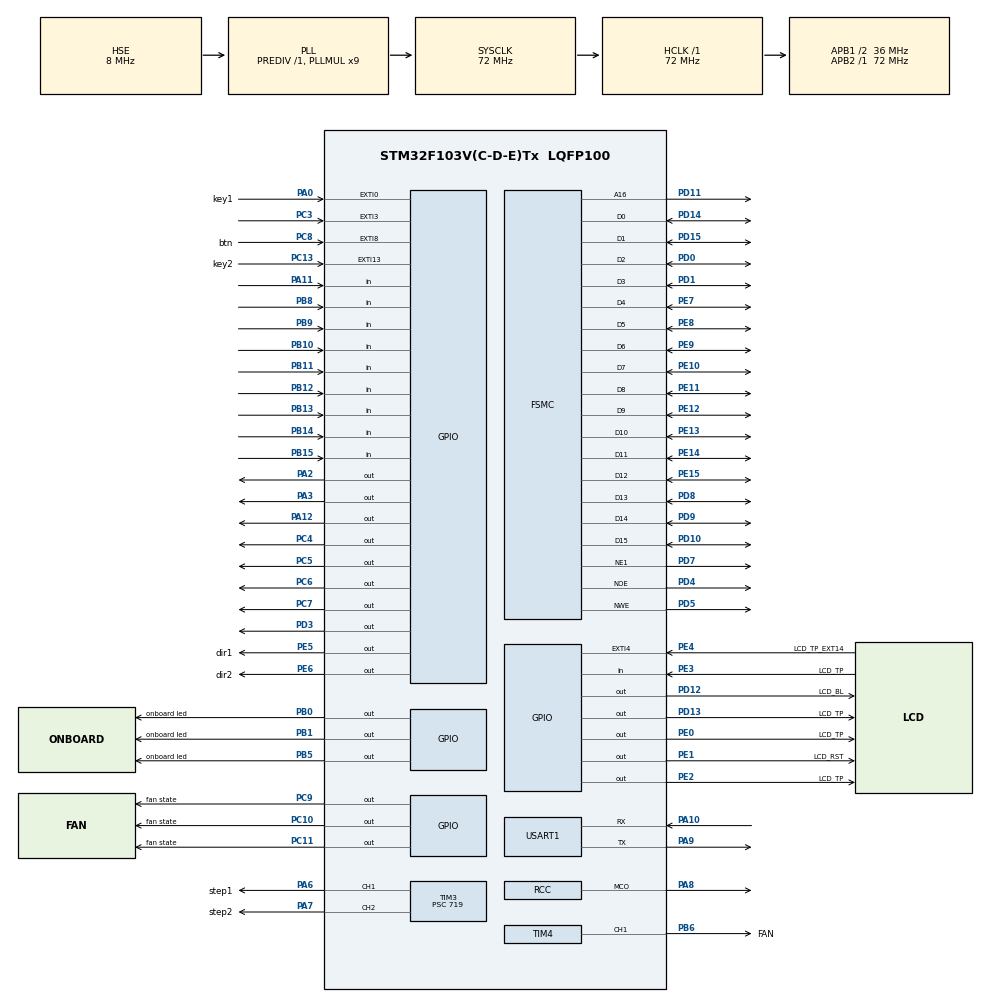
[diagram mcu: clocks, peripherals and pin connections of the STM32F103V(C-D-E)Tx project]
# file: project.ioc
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Mcu.Family=STM32F1
Mcu.Name=STM32F103V(C-D-E)Tx
Mcu.Package=LQFP100
NVIC.EXTI0_IRQn=true\:1\:0\:true\:false\:true\:true\:true\:true
NVIC.EXTI15_10_IRQn=true\:1\:0\:true\:false\:true\:true\:true\:true
NVIC.EXTI3_IRQn=true\:1\:0\:true\:false\:true\:true\:true\:true
NVIC.EXTI4_IRQn=true\:1\:0\:true\:false\:true\:true\:true\:true
NVIC.EXTI9_5_IRQn=true\:1\:0\:true\:false\:true\:true\:true\:true
NVIC.PriorityGroup=NVIC_PRIORITYGROUP_4
OSC_IN.Mode=HSE-External-Oscillator
OSC_IN.Signal=RCC_OSC_IN
OSC_OUT.Mode=HSE-External-Oscillator
OSC_OUT.Signal=RCC_OSC_OUT
PA0-WKUP.GPIO_Label=key1
PA0-WKUP.Signal=GPXTI0
PA10.Mode=Asynchronous
PA10.Signal=USART1_RX
PA11.Signal=GPIO_Input
PA12.Signal=GPIO_Output
PA13.Mode=Serial_Wire
PA13.Signal=SYS_JTMS-SWDIO
PA14.Mode=Serial_Wire
PA14.Signal=SYS_JTCK-SWCLK
PA2.GPIO_Speed=GPIO_SPEED_FREQ_HIGH
PA2.Signal=GPIO_Output
PA3.GPIO_Speed=GPIO_SPEED_FREQ_HIGH
PA3.Signal=GPIO_Output
PA6.GPIO_Label=step1
PA6.GPIO_Speed=GPIO_SPEED_FREQ_HIGH
PA6.Signal=S_TIM3_CH1
PA7.GPIO_Label=step2
PA7.GPIO_Speed=GPIO_SPEED_FREQ_HIGH
PA7.Signal=S_TIM3_CH2
PA8.GPIO_Speed=GPIO_SPEED_FREQ_HIGH
PA8.Mode=Clock-out
PA8.Signal=RCC_MCO
PA9.Mode=Asynchronous
PA9.Signal=USART1_TX
PB0.GPIO_Label=onboard led
PB0.GPIO_Speed=GPIO_SPEED_FREQ_HIGH
PB0.PinState=GPIO_PIN_SET
PB0.Signal=GPIO_Output
PB1.GPIO_Label=onboard led
PB1.GPIO_Speed=GPIO_SPEED_FREQ_HIGH
PB1.PinState=GPIO_PIN_SET
PB1.Signal=GPIO_Output
PB10.Signal=GPIO_Input
PB11.Signal=GPIO_Input
PB12.Signal=GPIO_Input
PB13.Signal=GPIO_Input
PB14.Signal=GPIO_Input
PB15.Signal=GPIO_Input
PB5.GPIO_Label=onboard led
PB5.GPIO_Speed=GPIO_SPEED_FREQ_HIGH
PB5.PinState=GPIO_PIN_SET
PB5.Signal=GPIO_Output
PB6.GPIO_Label=FAN
PB6.GPIO_Speed=GPIO_SPEED_FREQ_HIGH
PB6.Signal=S_TIM4_CH1
PB8.Signal=GPIO_Input
PB9.Signal=GPIO_Input
PC10.GPIO_Label=fan state
PC10.PinState=GPIO_PIN_SET
PC10.Signal=GPIO_Output
PC11.GPIO_Label=fan state
PC11.PinState=GPIO_PIN_SET
PC11.Signal=GPIO_Output
PC13-TAMPER-RTC.GPIO_Label=key2
PC13-TAMPER-RTC.Signal=GPXTI13
PC14-OSC32_IN.Mode=LSE-External-Oscillator
PC14-OSC32_IN.Signal=RCC_OSC32_IN
PC15-OSC32_OUT.Mode=LSE-External-Oscillator
PC15-OSC32_OUT.Signal=RCC_OSC32_OUT
PC3.GPIO_ModeDefaultEXTI=GPIO_MODE_IT_FALLING
PC3.Signal=GPXTI3
PC4.GPIO_Speed=GPIO_SPEED_FREQ_HIGH
PC4.Signal=GPIO_Output
PC5.GPIO_Speed=GPIO_SPEED_FREQ_HIGH
PC5.Signal=GPIO_Output
PC6.GPIO_ModeDefaultOutputPP=GPIO_MODE_OUTPUT_OD
PC6.GPIO_PuPd=GPIO_NOPULL
PC6.GPIO_Speed=GPIO_SPEED_FREQ_HIGH
PC6.Signal=GPIO_Output
PC7.GPIO_ModeDefaultOutputPP=GPIO_MODE_OUTPUT_OD
PC7.GPIO_PuPd=GPIO_NOPULL
PC7.GPIO_Speed=GPIO_SPEED_FREQ_HIGH
PC7.Signal=GPIO_Output
PC8.GPIO_Label=btn
PC8.GPIO_ModeDefaultEXTI=GPIO_MODE_IT_FALLING
PC8.GPIO_PuPd=GPIO_PULLUP
PC8.Signal=GPXTI8
PC9.GPIO_Label=fan state
PC9.PinState=GPIO_PIN_SET
PC9.Signal=GPIO_Output
PD0.Mode=16b-d1
PD0.Signal=FSMC_D2
PD1.Mode=16b-d1
PD1.Signal=FSMC_D3
PD10.Mode=16b-d1
PD10.Signal=FSMC_D15
PD11.Mode=A16_1
PD11.Signal=FSMC_A16
PD12.GPIO_Label=LCD_BL
PD12.GPIO_Speed=GPIO_SPEED_FREQ_HIGH
PD12.Signal=GPIO_Output
PD13.GPIO_Label=LCD_TP
PD13.GPIO_Speed=GPIO_SPEED_FREQ_HIGH
PD13.Signal=GPIO_Output
PD14.Mode=16b-d1
PD14.Signal=FSMC_D0
PD15.Mode=16b-d1
PD15.Signal=FSMC_D1
PD3.GPIO_Speed=GPIO_SPEED_FREQ_HIGH
PD3.Signal=GPIO_Output
PD4.Mode=Lcd1
PD4.Signal=FSMC_NOE
PD5.Mode=Lcd1
PD5.Signal=FSMC_NWE
PD7.Mode=NorPsramChipSelect1_1
PD7.Signal=FSMC_NE1
PD8.Mode=16b-d1
PD8.Signal=FSMC_D13
PD9.Mode=16b-d1
PD9.Signal=FSMC_D14
PE0.GPIO_Label=LCD_TP
PE0.GPIO_Speed=GPIO_SPEED_FREQ_HIGH
PE0.Signal=GPIO_Output
PE1.GPIO_Label=LCD_RST
PE1.GPIO_Speed=GPIO_SPEED_FREQ_HIGH
PE1.Signal=GPIO_Output
PE10.Mode=16b-d1
PE10.Signal=FSMC_D7
PE11.Mode=16b-d1
PE11.Signal=FSMC_D8
PE12.Mode=16b-d1
PE12.Signal=FSMC_D9
PE13.Mode=16b-d1
PE13.Signal=FSMC_D10
PE14.Mode=16b-d1
PE14.Signal=FSMC_D11
PE15.Mode=16b-d1
PE15.Signal=FSMC_D12
PE2.GPIO_Label=LCD_TP
PE2.GPIO_Speed=GPIO_SPEED_FREQ_HIGH
PE2.Signal=GPIO_Output
PE3.GPIO_Label=LCD_TP
PE3.GPIO_PuPd=GPIO_PULLUP
PE3.Signal=GPIO_Input
PE4.GPIO_Label=LCD_TP_EXT14
PE4.GPIO_ModeDefaultEXTI=GPIO_MODE_IT_FALLING
PE4.GPIO_PuPd=GPIO_PULLUP
PE4.Signal=GPXTI4
PE5.GPIO_Label=dir1
PE5.GPIO_Speed=GPIO_SPEED_FREQ_HIGH
PE5.PinState=GPIO_PIN_RESET
PE5.Signal=GPIO_Output
PE6.GPIO_Label=dir2
PE6.GPIO_Speed=GPIO_SPEED_FREQ_HIGH
PE6.Signal=GPIO_Output
PE7.Mode=16b-d1
PE7.Signal=FSMC_D4
PE8.Mode=16b-d1
PE8.Signal=FSMC_D5
PE9.Mode=16b-d1
PE9.Signal=FSMC_D6
ProjectManager.HeapSize=0x200
ProjectManager.StackSize=0x400
ProjectManager.TargetToolchain=STM32CubeIDE
RCC.ADCPresc=RCC_ADCPCLK2_DIV6
RCC.AHBFreq_Value=72000000
RCC.APB1CLKDivider=RCC_HCLK_DIV2
RCC.APB1Freq_Value=36000000
RCC.APB1TimFreq_Value=72000000
RCC.APB2Freq_Value=72000000
RCC.APB2TimFreq_Value=72000000
RCC.HCLKFreq_Value=72000000
RCC.PLLMUL=RCC_PLL_MUL9
RCC.PLLSourceVirtual=RCC_PLLSOURCE_HSE
RCC.RCC_MCOSource=RCC_MCO1SOURCE_PLLCLK
RCC.SYSCLKFreq_VALUE=72000000
RCC.SYSCLKSource=RCC_SYSCLKSOURCE_PLLCLK
RCC.USBFreq_Value=72000000
SH.S_TIM3_CH1.0=TIM3_CH1,PWM Generation1 CH1
SH.S_TIM3_CH2.0=TIM3_CH2,PWM Generation2 CH2
SH.S_TIM4_CH1.0=TIM4_CH1,PWM Generation1 CH1
TIM1.Prescaler=71
TIM3.Channel-PWM\ Generation1\ CH1=TIM_CHANNEL_1
TIM3.Channel-PWM\ Generation2\ CH2=TIM_CHANNEL_2
TIM3.Period=49
TIM3.Prescaler=719
TIM3.Pulse-PWM\ Generation1\ CH1=0
TIM3.Pulse-PWM\ Generation2\ CH2=0
TIM3.TIM_MasterSlaveMode=TIM_MASTERSLAVEMODE_ENABLE
TIM4.Channel-PWM\ Generation1\ CH1=TIM_CHANNEL_1
TIM4.Period=999
TIM4.Prescaler=7199
TIM4.Pulse-PWM\ Generation1\ CH1=0
TIM4.TIM_MasterOutputTrigger=TIM_TRGO_UPDATE
USART1.VirtualMode=VM_ASYNC
VP_TIM1_VS_ClockSourceINT.Mode=Internal
VP_TIM3_VS_ClockSourceINT.Mode=Internal
VP_TIM4_VS_ClockSourceINT.Mode=Internal
board=custom

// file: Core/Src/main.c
/* USER CODE BEGIN Header */
/**
  ******************************************************************************
  * @file           : main.c
  * @brief          : Main program body
  ******************************************************************************
  * @attention
  *
  * Copyright (c) 2023 STMicroelectronics.
  * All rights reserved.
  *
  * This software is licensed under terms that can be found in the LICENSE file
  * in the root directory of this software component.
  * If no LICENSE file comes with this software, it is provided AS-IS.
  *
  ******************************************************************************
  */
/* USER CODE END Header */
#include "main.h"

/* USER CODE BEGIN Includes */
#include "lcd.h"
#include "xpt2046.h"
#include "bsp_ov7725.h"
#include "bsp_sccb.h"
#include "stdio.h"
/* USER CODE END Includes */

 TIM_HandleTypeDef htim1;
TIM_HandleTypeDef htim3;
TIM_HandleTypeDef htim4;

UART_HandleTypeDef huart1;

SRAM_HandleTypeDef hsram1;

void SystemClock_Config(void);
static void MX_GPIO_Init(void);
static void MX_FSMC_Init(void);
static void MX_TIM3_Init(void);
static void MX_TIM4_Init(void);
static void MX_TIM1_Init(void);
static void MX_USART1_UART_Init(void);
/* USER CODE BEGIN PFP */
volatile uint8_t Ov7725_vsync ;
#define TRIG_PIN GPIO_PIN_12
#define TRIG_PORT GPIOA
#define ECHO_PIN GPIO_PIN_11
#define ECHO_PORT GPIOA
/* USER CODE END PFP */

/* USER CODE BEGIN 0 */
void led_blink(){
	  HAL_GPIO_WritePin(GPIOB, GPIO_PIN_5, GPIO_PIN_RESET);
	  HAL_Delay(100);
	  HAL_GPIO_WritePin(GPIOB, GPIO_PIN_5, GPIO_PIN_SET);
	  HAL_Delay(50);
	  HAL_GPIO_WritePin(GPIOB, GPIO_PIN_5, GPIO_PIN_RESET);
	  HAL_Delay(100);
	  HAL_GPIO_WritePin(GPIOB, GPIO_PIN_5, GPIO_PIN_SET);
	  HAL_Delay(50);
	  HAL_GPIO_WritePin(GPIOB, GPIO_PIN_5, GPIO_PIN_RESET);
	  HAL_Delay(100);
	  HAL_GPIO_WritePin(GPIOB, GPIO_PIN_5, GPIO_PIN_SET);
	  HAL_Delay(50);
}

void stepper_up(){
	  HAL_GPIO_WritePin(GPIOE, GPIO_PIN_5, GPIO_PIN_SET);
	  HAL_GPIO_WritePin(GPIOE, GPIO_PIN_6, GPIO_PIN_SET);
	  __HAL_TIM_SET_COMPARE(&htim3, TIM_CHANNEL_1, 1);
	  __HAL_TIM_SET_COMPARE(&htim3, TIM_CHANNEL_2, 1);
}

void stepper_stop(){
	  __HAL_TIM_SET_COMPARE(&htim3, TIM_CHANNEL_1, 0);
	  __HAL_TIM_SET_COMPARE(&htim3, TIM_CHANNEL_2, 0);
}

int fanspeed = 0;
int fan_speed_arr[4] = {0, 399, 699, 999};
int fan_mode = 0;
void fan(){
	__HAL_TIM_SET_COMPARE(&htim4, TIM_CHANNEL_1, fan_speed_arr[3]);
	HAL_Delay(100);
	if(fanspeed == 0){
		HAL_GPIO_WritePin(GPIOC, GPIO_PIN_11, GPIO_PIN_RESET);
		fanspeed = 1;
	}
	else if(fanspeed == 1){
		HAL_GPIO_WritePin(GPIOC, GPIO_PIN_10, GPIO_PIN_RESET);
		fanspeed = 2;
	}
	else if(fanspeed == 2){
		HAL_GPIO_WritePin(GPIOC, GPIO_PIN_9, GPIO_PIN_RESET);
		fanspeed = 3;
	}
	else if(fanspeed == 3){
		HAL_GPIO_WritePin(GPIOC, GPIO_PIN_9, GPIO_PIN_SET);
		HAL_GPIO_WritePin(GPIOC, GPIO_PIN_10, GPIO_PIN_SET);
		HAL_GPIO_WritePin(GPIOC, GPIO_PIN_11, GPIO_PIN_SET);
		fanspeed = 0;
	}
	__HAL_TIM_SET_COMPARE(&htim4, TIM_CHANNEL_1, fan_speed_arr[fanspeed]);
}

uint16_t i, j;
uint16_t Camera_Data;
uint8_t color1;
uint8_t color2;
uint8_t message[2];
uint8_t strK1[]="Pressed\n";
uint8_t str2[]="\nStop";
uint16_t Distance  = 0;
uint32_t pMillis;
uint32_t Value1 = 0;
uint32_t Value2 = 0;
int take_photo () {

		LCD_DisplayInterface1();
		HAL_GPIO_WritePin(TRIG_PORT, TRIG_PIN, GPIO_PIN_SET);
		__HAL_TIM_SET_COUNTER(&htim1, 0);
		while (__HAL_TIM_GET_COUNTER (&htim1) < 10);
		HAL_GPIO_WritePin(TRIG_PORT, TRIG_PIN, GPIO_PIN_RESET);

		pMillis = HAL_GetTick();

		while (!(HAL_GPIO_ReadPin (ECHO_PORT, ECHO_PIN)) && pMillis + 10 >  HAL_GetTick());
		Value1 = __HAL_TIM_GET_COUNTER (&htim1);

		pMillis = HAL_GetTick();

		while ((HAL_GPIO_ReadPin (ECHO_PORT, ECHO_PIN)) && pMillis + 50 > HAL_GetTick());
		Value2 = __HAL_TIM_GET_COUNTER (&htim1);

		Distance = (Value2-Value1)* 0.034/2;
		HAL_Delay(50);
		uint8_t Rxstr[4] = "";
		int pixel_data = 0;
		int Calcu_data = 0;
		HAL_UART_Transmit(&huart1,strK1,sizeof(strK1)-1,100);
		if (Ov7725_vsync == 2)
		{
			FIFO_PREPARE;
			for(i = 0; i < 240; i++)
			{
				for(j = 0; j < 320; j++)
				{
					READ_FIFO_PIXEL(Camera_Data);
					color1 = (uint8_t) (Camera_Data);
					color2 = (uint8_t) (Camera_Data>>8);
					message[0] = color1;
					message[1] = color2;
					HAL_UART_Transmit(&huart1,message,2,100);
				}
			}
			HAL_UART_Transmit(&huart1,str2,sizeof(str2)-1,100);
			HAL_Delay(50);
			Ov7725_vsync = 0;
			int temp_time = HAL_GetTick();
			while (HAL_UART_Receive(&huart1,Rxstr,2,100) != HAL_OK && Check_mainsrc_touchkey() == 0);
			LCD_DisplayInterface2();
			sscanf(Rxstr, "%d", &pixel_data);
			if (pixel_data == 0) {LCD_DisplayInterface(); return 0;}
			Calcu_data = pixel_data + ((int)(Distance)-30)*2/40;
			if (Calcu_data > 25) {Calcu_data = 25;}
			else if (Calcu_data < 15) {Calcu_data = 15;}
			LCD_DisplayNum(Calcu_data);
			HAL_Delay(4000);
			LCD_DisplayInterface();

		}
		return Calcu_data;
}
/* USER CODE END 0 */

int main(void)
{

  /* MCU Configuration--------------------------------------------------------*/

  /* Reset of all peripherals, Initializes the Flash interface and the Systick. */
  HAL_Init();

  /* Configure the system clock */
  SystemClock_Config();

  /* Initialize all configured peripherals */
  MX_GPIO_Init();
  MX_FSMC_Init();
  MX_TIM3_Init();
  MX_TIM4_Init();
  MX_TIM1_Init();
  MX_USART1_UART_Init();
  /* USER CODE BEGIN 2 */
  //LCD
  LCD_INIT();
  LCD_DisplayInterface();
  //timer
  HAL_TIM_PWM_Start(&htim3, TIM_CHANNEL_1);
  HAL_TIM_PWM_Start(&htim3, TIM_CHANNEL_2);
  HAL_TIM_PWM_Start(&htim4, TIM_CHANNEL_1);
  HAL_TIM_Base_Start(&htim1);
  HAL_GPIO_WritePin(TRIG_PORT, TRIG_PIN, GPIO_PIN_RESET);

  // camera
  while(Ov7725_Init() != SUCCESS){HAL_GPIO_WritePin(GPIOB, GPIO_PIN_5, GPIO_PIN_RESET);}
  HAL_GPIO_WritePin(GPIOB, GPIO_PIN_5, GPIO_PIN_SET);
  Ov7725_vsync = 0;

  //HMC5883L
//  char str3[] = "Z:";
//  char str6[10];
  char str7[10];
//
//  LCD_DrawString(50, 60, str3);

//  uint16_t HMC5883L_Addr = 0x1E;
//  uint8_t CRA = 0x70;
//  uint8_t CRB = 0xA0;
//  uint8_t mode = 0x00;
//  HAL_I2C_Mem_Write(&hi2c2,HMC5883L_Addr<<1,0x00,1,&CRA,1,100);
//  HAL_I2C_Mem_Write(&hi2c2,HMC5883L_Addr<<1,0x01,1,&CRB,1,100);
//  HAL_I2C_Mem_Write(&hi2c2,HMC5883L_Addr<<1,0x02,1,&mode,1,100);
//  int8_t mx, my, mz, lx, ly, lz, status;
//  int16_t z;
//  int init = 0;
//  int16_t init_z;
//  int counter_size = 50;
//  int counter = 0;

  //touch screeen
  int touch_received;

  //stepper
  int stepper_dir = 0;
  double current_height = 26;
  LCD_DisplayNum(current_height-1);
  current_height = 25.1;
  uint32_t timer_temp;
  int temp_height = current_height;
  int haveTarget = 0;
  int Calcu_Data = 0;

//  int rgb_state = 0;
//  uint16_t gpioPin[] = {GPIO_PIN_1, GPIO_PIN_5, GPIO_PIN_0};
  /* USER CODE END 2 */

  /* Infinite loop */
  /* USER CODE BEGIN WHILE */
  while (1)
  {

	  touch_received = Check_mainsrc_touchkey();

	  //If stepper is moving, get the time update. If time change by 2, update height by 1.
	  if(stepper_dir != 0){
		  //adjust the last no. to get better range. Max: 2000
		  current_height += stepper_dir*(double)(HAL_GetTick()-timer_temp)/1950.0;
		  timer_temp = HAL_GetTick();

		  if(current_height >= 25 && stepper_dir == 1){
			  current_height = 25;
			  stepper_dir = 0;

			  __HAL_TIM_SET_COMPARE(&htim3, TIM_CHANNEL_1, 0);
			  __HAL_TIM_SET_COMPARE(&htim3, TIM_CHANNEL_2, 0);
			  led_blink();
		  }

		  if(current_height <= 15 && stepper_dir == -1){
			  current_height = 15;
			  stepper_dir = 0;

			  __HAL_TIM_SET_COMPARE(&htim3, TIM_CHANNEL_1, 0);
			  __HAL_TIM_SET_COMPARE(&htim3, TIM_CHANNEL_2, 0);
			  led_blink();
		  }

		  //have target
		  if(current_height >= Calcu_Data && stepper_dir == 1 && haveTarget){
			  current_height = Calcu_Data;
			  stepper_dir = 0;
			  haveTarget = 0;

			  __HAL_TIM_SET_COMPARE(&htim3, TIM_CHANNEL_1, 0);
			  __HAL_TIM_SET_COMPARE(&htim3, TIM_CHANNEL_2, 0);
			  led_blink();
		  }

		  if(current_height <= Calcu_Data && stepper_dir == -1 && haveTarget){
			  current_height = Calcu_Data;
			  stepper_dir = 0;
			  haveTarget = 0;

			  __HAL_TIM_SET_COMPARE(&htim3, TIM_CHANNEL_1, 0);
			  __HAL_TIM_SET_COMPARE(&htim3, TIM_CHANNEL_2, 0);
			  led_blink();
		  }

		 //update display
		  if((int)current_height != temp_height){
			  temp_height = current_height;
			  LCD_DisplayNum((int)current_height);
		  }

	  }

	  //stepper up down
	  //reset button
	  if(touch_received == 1){
		  fan();
	  }
	  // auto button
	  if(touch_received == 2){
		  Calcu_Data = take_photo();
		  LCD_DisplayNum(current_height);
		  if(Calcu_Data != 0){
			  haveTarget = 1;
			  if (Calcu_Data < current_height) {
				  HAL_GPIO_WritePin(GPIOE, GPIO_PIN_5, GPIO_PIN_RESET);
				  HAL_GPIO_WritePin(GPIOE, GPIO_PIN_6, GPIO_PIN_RESET);
				  __HAL_TIM_SET_COMPARE(&htim3, TIM_CHANNEL_1, 1);
				  __HAL_TIM_SET_COMPARE(&htim3, TIM_CHANNEL_2, 1);
				  stepper_dir = -1;
				  timer_temp = HAL_GetTick();
			  } else if (Calcu_Data > current_height) {
				  HAL_GPIO_WritePin(GPIOE, GPIO_PIN_5, GPIO_PIN_SET);
				  HAL_GPIO_WritePin(GPIOE, GPIO_PIN_6, GPIO_PIN_SET);
				  __HAL_TIM_SET_COMPARE(&htim3, TIM_CHANNEL_1, 1);
				  __HAL_TIM_SET_COMPARE(&htim3, TIM_CHANNEL_2, 1);
				  stepper_dir = 1;
				  timer_temp = HAL_GetTick();
			  }
		  }

	  }
	  //up button
	  if(touch_received == 3){
		  HAL_GPIO_WritePin(GPIOE, GPIO_PIN_5, GPIO_PIN_SET);
		  HAL_GPIO_WritePin(GPIOE, GPIO_PIN_6, GPIO_PIN_SET);
		  __HAL_TIM_SET_COMPARE(&htim3, TIM_CHANNEL_1, 1);
		  __HAL_TIM_SET_COMPARE(&htim3, TIM_CHANNEL_2, 1);
		  stepper_dir = 1;
		  timer_temp = HAL_GetTick();
	  }
	  //down button
	  if(touch_received == 4){
		  HAL_GPIO_WritePin(GPIOE, GPIO_PIN_5, GPIO_PIN_RESET);
		  HAL_GPIO_WritePin(GPIOE, GPIO_PIN_6, GPIO_PIN_RESET);
		  __HAL_TIM_SET_COMPARE(&htim3, TIM_CHANNEL_1, 1);
		  __HAL_TIM_SET_COMPARE(&htim3, TIM_CHANNEL_2, 1);
		  stepper_dir = -1;
		  timer_temp = HAL_GetTick();
	  }
	  //pause button
	  if(touch_received == 5){
		  __HAL_TIM_SET_COMPARE(&htim3, TIM_CHANNEL_1, 0);
		  __HAL_TIM_SET_COMPARE(&htim3, TIM_CHANNEL_2, 0);
		  stepper_dir = 0;
		  timer_temp = HAL_GetTick();
	  }

//	  HAL_I2C_Mem_Read(&hi2c2,HMC5883L_Addr<<1,0x09,1,&status,1,100);
//	  if(status%2 == 0){
//		  continue;
//	  }
//
//
//	  HAL_I2C_Mem_Read(&hi2c2,HMC5883L_Addr<<1,0x03,1,&mx,1,100);
//	  HAL_I2C_Mem_Read(&hi2c2,HMC5883L_Addr<<1,0x04,1,&lx,1,100);
//	  HAL_I2C_Mem_Read(&hi2c2,HMC5883L_Addr<<1,0x05,1,&mz,1,100);
//	  HAL_I2C_Mem_Read(&hi2c2,HMC5883L_Addr<<1,0x06,1,&lz,1,100);
//	  HAL_I2C_Mem_Read(&hi2c2,HMC5883L_Addr<<1,0x07,1,&my,1,100);
//	  HAL_I2C_Mem_Read(&hi2c2,HMC5883L_Addr<<1,0x08,1,&ly,1,100);
//
//	  z = lz + (mz << 8);
//	  if(init == 0){
//		  init_z = z;
//		  init = 1;
//	  }
//	  z = z-init_z;
//	  int t = 25+z;
//	  snprintf(str6,5,"%d", t);
//	  snprintf(str7,5,"%d", adc_value);
//	  LCD_Clear(70,60,50,40,0xFFFF);
//	  LCD_DrawString(70, 60, str6);
//	  LCD_DrawString(70, 80, str7);

//	  if(counter == 0){
//		  LCD_DisplayNum(temp_d);
//		  counter = counter_size;
//	  }
//	  counter--;

    /* USER CODE END WHILE */

  }
}

void SystemClock_Config(void)
{
  RCC_OscInitTypeDef RCC_OscInitStruct = {0};
  RCC_ClkInitTypeDef RCC_ClkInitStruct = {0};

  /** Initializes the RCC Oscillators according to the specified parameters
  * in the RCC_OscInitTypeDef structure.
  */
  RCC_OscInitStruct.OscillatorType = RCC_OSCILLATORTYPE_HSE;
  RCC_OscInitStruct.HSEState = RCC_HSE_ON;
  RCC_OscInitStruct.HSEPredivValue = RCC_HSE_PREDIV_DIV1;
  RCC_OscInitStruct.HSIState = RCC_HSI_ON;
  RCC_OscInitStruct.PLL.PLLState = RCC_PLL_ON;
  RCC_OscInitStruct.PLL.PLLSource = RCC_PLLSOURCE_HSE;
  RCC_OscInitStruct.PLL.PLLMUL = RCC_PLL_MUL9;
  if (HAL_RCC_OscConfig(&RCC_OscInitStruct) != HAL_OK)
  {
    Error_Handler();
  }

  /** Initializes the CPU, AHB and APB buses clocks
  */
  RCC_ClkInitStruct.ClockType = RCC_CLOCKTYPE_HCLK|RCC_CLOCKTYPE_SYSCLK
                              |RCC_CLOCKTYPE_PCLK1|RCC_CLOCKTYPE_PCLK2;
  RCC_ClkInitStruct.SYSCLKSource = RCC_SYSCLKSOURCE_PLLCLK;
  RCC_ClkInitStruct.AHBCLKDivider = RCC_SYSCLK_DIV1;
  RCC_ClkInitStruct.APB1CLKDivider = RCC_HCLK_DIV2;
  RCC_ClkInitStruct.APB2CLKDivider = RCC_HCLK_DIV1;

  if (HAL_RCC_ClockConfig(&RCC_ClkInitStruct, FLASH_LATENCY_2) != HAL_OK)
  {
    Error_Handler();
  }
  HAL_RCC_MCOConfig(RCC_MCO, RCC_MCO1SOURCE_PLLCLK, RCC_MCODIV_1);
}

static void MX_TIM1_Init(void)
{

  TIM_ClockConfigTypeDef sClockSourceConfig = {0};
  TIM_MasterConfigTypeDef sMasterConfig = {0};

  htim1.Instance = TIM1;
  htim1.Init.Prescaler = 71;
  htim1.Init.CounterMode = TIM_COUNTERMODE_UP;
  htim1.Init.Period = 65535;
  htim1.Init.ClockDivision = TIM_CLOCKDIVISION_DIV1;
  htim1.Init.RepetitionCounter = 0;
  htim1.Init.AutoReloadPreload = TIM_AUTORELOAD_PRELOAD_DISABLE;
  if (HAL_TIM_Base_Init(&htim1) != HAL_OK)
  {
    Error_Handler();
  }
  sClockSourceConfig.ClockSource = TIM_CLOCKSOURCE_INTERNAL;
  if (HAL_TIM_ConfigClockSource(&htim1, &sClockSourceConfig) != HAL_OK)
  {
    Error_Handler();
  }
  sMasterConfig.MasterOutputTrigger = TIM_TRGO_RESET;
  sMasterConfig.MasterSlaveMode = TIM_MASTERSLAVEMODE_DISABLE;
  if (HAL_TIMEx_MasterConfigSynchronization(&htim1, &sMasterConfig) != HAL_OK)
  {
    Error_Handler();
  }

}

static void MX_TIM3_Init(void)
{

  TIM_ClockConfigTypeDef sClockSourceConfig = {0};
  TIM_MasterConfigTypeDef sMasterConfig = {0};
  TIM_OC_InitTypeDef sConfigOC = {0};

  htim3.Instance = TIM3;
  htim3.Init.Prescaler = 719;
  htim3.Init.CounterMode = TIM_COUNTERMODE_UP;
  htim3.Init.Period = 49;
  htim3.Init.ClockDivision = TIM_CLOCKDIVISION_DIV1;
  htim3.Init.AutoReloadPreload = TIM_AUTORELOAD_PRELOAD_DISABLE;
  if (HAL_TIM_Base_Init(&htim3) != HAL_OK)
  {
    Error_Handler();
  }
  sClockSourceConfig.ClockSource = TIM_CLOCKSOURCE_INTERNAL;
  if (HAL_TIM_ConfigClockSource(&htim3, &sClockSourceConfig) != HAL_OK)
  {
    Error_Handler();
  }
  if (HAL_TIM_PWM_Init(&htim3) != HAL_OK)
  {
    Error_Handler();
  }
  sMasterConfig.MasterOutputTrigger = TIM_TRGO_RESET;
  sMasterConfig.MasterSlaveMode = TIM_MASTERSLAVEMODE_ENABLE;
  if (HAL_TIMEx_MasterConfigSynchronization(&htim3, &sMasterConfig) != HAL_OK)
  {
    Error_Handler();
  }
  sConfigOC.OCMode = TIM_OCMODE_PWM1;
  sConfigOC.Pulse = 0;
  sConfigOC.OCPolarity = TIM_OCPOLARITY_HIGH;
  sConfigOC.OCFastMode = TIM_OCFAST_DISABLE;
  if (HAL_TIM_PWM_ConfigChannel(&htim3, &sConfigOC, TIM_CHANNEL_1) != HAL_OK)
  {
    Error_Handler();
  }
  if (HAL_TIM_PWM_ConfigChannel(&htim3, &sConfigOC, TIM_CHANNEL_2) != HAL_OK)
  {
    Error_Handler();
  }
  HAL_TIM_MspPostInit(&htim3);

}

static void MX_TIM4_Init(void)
{

  TIM_ClockConfigTypeDef sClockSourceConfig = {0};
  TIM_MasterConfigTypeDef sMasterConfig = {0};
  TIM_OC_InitTypeDef sConfigOC = {0};

  htim4.Instance = TIM4;
  htim4.Init.Prescaler = 7199;
  htim4.Init.CounterMode = TIM_COUNTERMODE_UP;
  htim4.Init.Period = 999;
  htim4.Init.ClockDivision = TIM_CLOCKDIVISION_DIV1;
  htim4.Init.AutoReloadPreload = TIM_AUTORELOAD_PRELOAD_DISABLE;
  if (HAL_TIM_Base_Init(&htim4) != HAL_OK)
  {
    Error_Handler();
  }
  sClockSourceConfig.ClockSource = TIM_CLOCKSOURCE_INTERNAL;
  if (HAL_TIM_ConfigClockSource(&htim4, &sClockSourceConfig) != HAL_OK)
  {
    Error_Handler();
  }
  if (HAL_TIM_PWM_Init(&htim4) != HAL_OK)
  {
    Error_Handler();
  }
  sMasterConfig.MasterOutputTrigger = TIM_TRGO_UPDATE;
  sMasterConfig.MasterSlaveMode = TIM_MASTERSLAVEMODE_DISABLE;
  if (HAL_TIMEx_MasterConfigSynchronization(&htim4, &sMasterConfig) != HAL_OK)
  {
    Error_Handler();
  }
  sConfigOC.OCMode = TIM_OCMODE_PWM1;
  sConfigOC.Pulse = 0;
  sConfigOC.OCPolarity = TIM_OCPOLARITY_HIGH;
  sConfigOC.OCFastMode = TIM_OCFAST_DISABLE;
  if (HAL_TIM_PWM_ConfigChannel(&htim4, &sConfigOC, TIM_CHANNEL_1) != HAL_OK)
  {
    Error_Handler();
  }
  HAL_TIM_MspPostInit(&htim4);

}

static void MX_USART1_UART_Init(void)
{

  huart1.Instance = USART1;
  huart1.Init.BaudRate = 115200;
  huart1.Init.WordLength = UART_WORDLENGTH_8B;
  huart1.Init.StopBits = UART_STOPBITS_1;
  huart1.Init.Parity = UART_PARITY_NONE;
  huart1.Init.Mode = UART_MODE_TX_RX;
  huart1.Init.HwFlowCtl = UART_HWCONTROL_NONE;
  huart1.Init.OverSampling = UART_OVERSAMPLING_16;
  if (HAL_UART_Init(&huart1) != HAL_OK)
  {
    Error_Handler();
  }

}

static void MX_GPIO_Init(void)
{
  GPIO_InitTypeDef GPIO_InitStruct = {0};

  /* GPIO Ports Clock Enable */
  __HAL_RCC_GPIOE_CLK_ENABLE();
  __HAL_RCC_GPIOC_CLK_ENABLE();
  __HAL_RCC_GPIOA_CLK_ENABLE();
  __HAL_RCC_GPIOB_CLK_ENABLE();
  __HAL_RCC_GPIOD_CLK_ENABLE();

  /*Configure GPIO pin Output Level */
  HAL_GPIO_WritePin(GPIOE, LCD_TP_Pin|dir1_Pin|dir2_Pin|LCD_TPE0_Pin
                          |LCD_RST_Pin, GPIO_PIN_RESET);

  /*Configure GPIO pin Output Level */
  HAL_GPIO_WritePin(GPIOA, GPIO_PIN_2|GPIO_PIN_3|GPIO_PIN_12, GPIO_PIN_RESET);

  /*Configure GPIO pin Output Level */
  HAL_GPIO_WritePin(GPIOC, GPIO_PIN_4|GPIO_PIN_5|GPIO_PIN_6|GPIO_PIN_7, GPIO_PIN_RESET);

  /*Configure GPIO pin Output Level */
  HAL_GPIO_WritePin(GPIOB, onboard_led_Pin|onboard_ledB1_Pin|onboard_ledB5_Pin, GPIO_PIN_SET);

  /*Configure GPIO pin Output Level */
  HAL_GPIO_WritePin(GPIOD, LCD_BL_Pin|LCD_TPD13_Pin|GPIO_PIN_3, GPIO_PIN_RESET);

  /*Configure GPIO pin Output Level */
  HAL_GPIO_WritePin(GPIOC, fan_state_Pin|fan_stateC10_Pin|fan_stateC11_Pin, GPIO_PIN_SET);

  /*Configure GPIO pins : LCD_TP_Pin dir1_Pin dir2_Pin LCD_TPE0_Pin
                           LCD_RST_Pin */
  GPIO_InitStruct.Pin = LCD_TP_Pin|dir1_Pin|dir2_Pin|LCD_TPE0_Pin
                          |LCD_RST_Pin;
  GPIO_InitStruct.Mode = GPIO_MODE_OUTPUT_PP;
  GPIO_InitStruct.Pull = GPIO_NOPULL;
  GPIO_InitStruct.Speed = GPIO_SPEED_FREQ_HIGH;
  HAL_GPIO_Init(GPIOE, &GPIO_InitStruct);

  /*Configure GPIO pin : LCD_TPE3_Pin */
  GPIO_InitStruct.Pin = LCD_TPE3_Pin;
  GPIO_InitStruct.Mode = GPIO_MODE_INPUT;
  GPIO_InitStruct.Pull = GPIO_PULLUP;
  HAL_GPIO_Init(LCD_TPE3_GPIO_Port, &GPIO_InitStruct);

  /*Configure GPIO pin : LCD_TP_EXT14_Pin */
  GPIO_InitStruct.Pin = LCD_TP_EXT14_Pin;
  GPIO_InitStruct.Mode = GPIO_MODE_IT_FALLING;
  GPIO_InitStruct.Pull = GPIO_PULLUP;
  HAL_GPIO_Init(LCD_TP_EXT14_GPIO_Port, &GPIO_InitStruct);

  /*Configure GPIO pin : key2_Pin */
  GPIO_InitStruct.Pin = key2_Pin;
  GPIO_InitStruct.Mode = GPIO_MODE_IT_RISING;
  GPIO_InitStruct.Pull = GPIO_NOPULL;
  HAL_GPIO_Init(key2_GPIO_Port, &GPIO_InitStruct);

  /*Configure GPIO pin : PC3 */
  GPIO_InitStruct.Pin = GPIO_PIN_3;
  GPIO_InitStruct.Mode = GPIO_MODE_IT_FALLING;
  GPIO_InitStruct.Pull = GPIO_NOPULL;
  HAL_GPIO_Init(GPIOC, &GPIO_InitStruct);

  /*Configure GPIO pin : key1_Pin */
  GPIO_InitStruct.Pin = key1_Pin;
  GPIO_InitStruct.Mode = GPIO_MODE_IT_RISING;
  GPIO_InitStruct.Pull = GPIO_NOPULL;
  HAL_GPIO_Init(key1_GPIO_Port, &GPIO_InitStruct);

  /*Configure GPIO pins : PA2 PA3 */
  GPIO_InitStruct.Pin = GPIO_PIN_2|GPIO_PIN_3;
  GPIO_InitStruct.Mode = GPIO_MODE_OUTPUT_PP;
  GPIO_InitStruct.Pull = GPIO_NOPULL;
  GPIO_InitStruct.Speed = GPIO_SPEED_FREQ_HIGH;
  HAL_GPIO_Init(GPIOA, &GPIO_InitStruct);

  /*Configure GPIO pins : PC4 PC5 */
  GPIO_InitStruct.Pin = GPIO_PIN_4|GPIO_PIN_5;
  GPIO_InitStruct.Mode = GPIO_MODE_OUTPUT_PP;
  GPIO_InitStruct.Pull = GPIO_NOPULL;
  GPIO_InitStruct.Speed = GPIO_SPEED_FREQ_HIGH;
  HAL_GPIO_Init(GPIOC, &GPIO_InitStruct);

  /*Configure GPIO pins : onboard_led_Pin onboard_ledB1_Pin onboard_ledB5_Pin */
  GPIO_InitStruct.Pin = onboard_led_Pin|onboard_ledB1_Pin|onboard_ledB5_Pin;
  GPIO_InitStruct.Mode = GPIO_MODE_OUTPUT_PP;
  GPIO_InitStruct.Pull = GPIO_NOPULL;
  GPIO_InitStruct.Speed = GPIO_SPEED_FREQ_HIGH;
  HAL_GPIO_Init(GPIOB, &GPIO_InitStruct);

  /*Configure GPIO pins : PB10 PB11 PB12 PB13
                           PB14 PB15 PB8 PB9 */
  GPIO_InitStruct.Pin = GPIO_PIN_10|GPIO_PIN_11|GPIO_PIN_12|GPIO_PIN_13
                          |GPIO_PIN_14|GPIO_PIN_15|GPIO_PIN_8|GPIO_PIN_9;
  GPIO_InitStruct.Mode = GPIO_MODE_INPUT;
  GPIO_InitStruct.Pull = GPIO_NOPULL;
  HAL_GPIO_Init(GPIOB, &GPIO_InitStruct);

  /*Configure GPIO pins : LCD_BL_Pin LCD_TPD13_Pin PD3 */
  GPIO_InitStruct.Pin = LCD_BL_Pin|LCD_TPD13_Pin|GPIO_PIN_3;
  GPIO_InitStruct.Mode = GPIO_MODE_OUTPUT_PP;
  GPIO_InitStruct.Pull = GPIO_NOPULL;
  GPIO_InitStruct.Speed = GPIO_SPEED_FREQ_HIGH;
  HAL_GPIO_Init(GPIOD, &GPIO_InitStruct);

  /*Configure GPIO pins : PC6 PC7 */
  GPIO_InitStruct.Pin = GPIO_PIN_6|GPIO_PIN_7;
  GPIO_InitStruct.Mode = GPIO_MODE_OUTPUT_OD;
  GPIO_InitStruct.Pull = GPIO_NOPULL;
  GPIO_InitStruct.Speed = GPIO_SPEED_FREQ_HIGH;
  HAL_GPIO_Init(GPIOC, &GPIO_InitStruct);

  /*Configure GPIO pin : btn_Pin */
  GPIO_InitStruct.Pin = btn_Pin;
  GPIO_InitStruct.Mode = GPIO_MODE_IT_FALLING;
  GPIO_InitStruct.Pull = GPIO_PULLUP;
  HAL_GPIO_Init(btn_GPIO_Port, &GPIO_InitStruct);

  /*Configure GPIO pins : fan_state_Pin fan_stateC10_Pin fan_stateC11_Pin */
  GPIO_InitStruct.Pin = fan_state_Pin|fan_stateC10_Pin|fan_stateC11_Pin;
  GPIO_InitStruct.Mode = GPIO_MODE_OUTPUT_PP;
  GPIO_InitStruct.Pull = GPIO_NOPULL;
  GPIO_InitStruct.Speed = GPIO_SPEED_FREQ_LOW;
  HAL_GPIO_Init(GPIOC, &GPIO_InitStruct);

  /*Configure GPIO pin : PA8 */
  GPIO_InitStruct.Pin = GPIO_PIN_8;
  GPIO_InitStruct.Mode = GPIO_MODE_AF_PP;
  GPIO_InitStruct.Speed = GPIO_SPEED_FREQ_HIGH;
  HAL_GPIO_Init(GPIOA, &GPIO_InitStruct);

  /*Configure GPIO pin : PA11 */
  GPIO_InitStruct.Pin = GPIO_PIN_11;
  GPIO_InitStruct.Mode = GPIO_MODE_INPUT;
  GPIO_InitStruct.Pull = GPIO_NOPULL;
  HAL_GPIO_Init(GPIOA, &GPIO_InitStruct);

  /*Configure GPIO pin : PA12 */
  GPIO_InitStruct.Pin = GPIO_PIN_12;
  GPIO_InitStruct.Mode = GPIO_MODE_OUTPUT_PP;
  GPIO_InitStruct.Pull = GPIO_NOPULL;
  GPIO_InitStruct.Speed = GPIO_SPEED_FREQ_LOW;
  HAL_GPIO_Init(GPIOA, &GPIO_InitStruct);

  /* EXTI interrupt init*/
  HAL_NVIC_SetPriority(EXTI0_IRQn, 1, 0);
  HAL_NVIC_EnableIRQ(EXTI0_IRQn);

  HAL_NVIC_SetPriority(EXTI3_IRQn, 1, 0);
  HAL_NVIC_EnableIRQ(EXTI3_IRQn);

  HAL_NVIC_SetPriority(EXTI4_IRQn, 1, 0);
  HAL_NVIC_EnableIRQ(EXTI4_IRQn);

  HAL_NVIC_SetPriority(EXTI9_5_IRQn, 1, 0);
  HAL_NVIC_EnableIRQ(EXTI9_5_IRQn);

  HAL_NVIC_SetPriority(EXTI15_10_IRQn, 1, 0);
  HAL_NVIC_EnableIRQ(EXTI15_10_IRQn);

}

/* FSMC initialization function */
static void MX_FSMC_Init(void)
{

  FSMC_NORSRAM_TimingTypeDef Timing = {0};

  /** Perform the SRAM1 memory initialization sequence
  */
  hsram1.Instance = FSMC_NORSRAM_DEVICE;
  hsram1.Extended = FSMC_NORSRAM_EXTENDED_DEVICE;
  /* hsram1.Init */
  hsram1.Init.NSBank = FSMC_NORSRAM_BANK1;
  hsram1.Init.DataAddressMux = FSMC_DATA_ADDRESS_MUX_DISABLE;
  hsram1.Init.MemoryType = FSMC_MEMORY_TYPE_SRAM;
  hsram1.Init.MemoryDataWidth = FSMC_NORSRAM_MEM_BUS_WIDTH_16;
  hsram1.Init.BurstAccessMode = FSMC_BURST_ACCESS_MODE_DISABLE;
  hsram1.Init.WaitSignalPolarity = FSMC_WAIT_SIGNAL_POLARITY_LOW;
  hsram1.Init.WrapMode = FSMC_WRAP_MODE_DISABLE;
  hsram1.Init.WaitSignalActive = FSMC_WAIT_TIMING_BEFORE_WS;
  hsram1.Init.WriteOperation = FSMC_WRITE_OPERATION_ENABLE;
  hsram1.Init.WaitSignal = FSMC_WAIT_SIGNAL_DISABLE;
  hsram1.Init.ExtendedMode = FSMC_EXTENDED_MODE_DISABLE;
  hsram1.Init.AsynchronousWait = FSMC_ASYNCHRONOUS_WAIT_DISABLE;
  hsram1.Init.WriteBurst = FSMC_WRITE_BURST_DISABLE;
  /* Timing */
  Timing.AddressSetupTime = 15;
  Timing.AddressHoldTime = 15;
  Timing.DataSetupTime = 255;
  Timing.BusTurnAroundDuration = 15;
  Timing.CLKDivision = 16;
  Timing.DataLatency = 17;
  Timing.AccessMode = FSMC_ACCESS_MODE_A;
  /* ExtTiming */

  if (HAL_SRAM_Init(&hsram1, &Timing, NULL) != HAL_OK)
  {
    Error_Handler( );
  }

  /** Disconnect NADV
  */

  __HAL_AFIO_FSMCNADV_DISCONNECTED();

}

/* USER CODE BEGIN 4 */
int step_counter(){

}
/* USER CODE END 4 */

void Error_Handler(void)
{
  __disable_irq();
}
